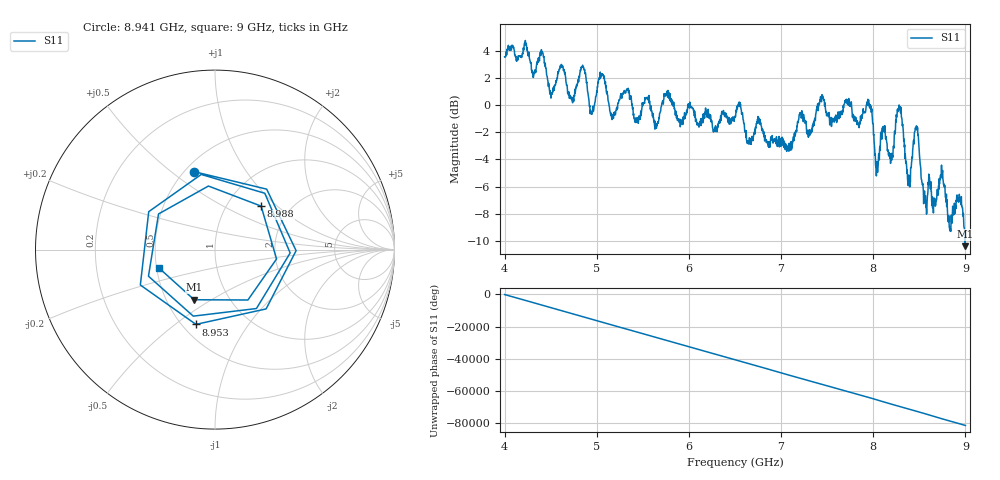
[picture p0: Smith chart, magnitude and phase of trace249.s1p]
! Created with skrf 1.8.0 (http://scikit-rf.org).
# Hz S RI R 50.0
!freq ReS11 ImS11
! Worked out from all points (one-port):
!   1601 points, 4 GHz to 9 GHz, reference 50 ohm
!   lowest |S11| = -10.4 dB at 8.997 GHz (marker M1), VSWR 1.87, Z = 34.3 - j21.1 ohm
!   |S11| at or under -10 dB: 8.995715 GHz to 8.998541 GHz (2.826 MHz wide, 0.0314 % of centre)
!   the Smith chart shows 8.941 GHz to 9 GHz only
!   S11 on the Smith chart (normalised r, x): 8.941 GHz: 0.55, +0.60; 8.953 GHz: 0.58, -0.60; 8.988 GHz: 1.43, +0.79; 9 GHz: 0.51, -0.12
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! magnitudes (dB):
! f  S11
! 4 GHz  3.5
! 4.406 GHz  3.8
! 4.512 GHz  0.9
! 4.625 GHz  2.8
! 4.728 GHz  0.6
! 4.853 GHz  2.8
! 4.944 GHz  -0.6
! 5.05 GHz  2.2
! 5.166 GHz  -1.1
! 5.25 GHz  0.4
! 5.875 GHz  -1.1
! 6.5 GHz  -0.9
! 7.125 GHz  -2.8
! 7.444 GHz  0.6
! 7.75 GHz  0.0
! 7.959 GHz  -0.2
! 8.041 GHz  -4.3
! 8.106 GHz  -1.6
! 8.2 GHz  -4.1
! 8.288 GHz  -0.3
! 8.375 GHz  -5.7
! 8.469 GHz  -1.5
! 8.566 GHz  -6.7
! 8.941 GHz  -6.9
! 8.953 GHz  -7.3
! 8.988 GHz  -9.0
! 8.997 GHz  -10.4
! 9 GHz  -9.6
